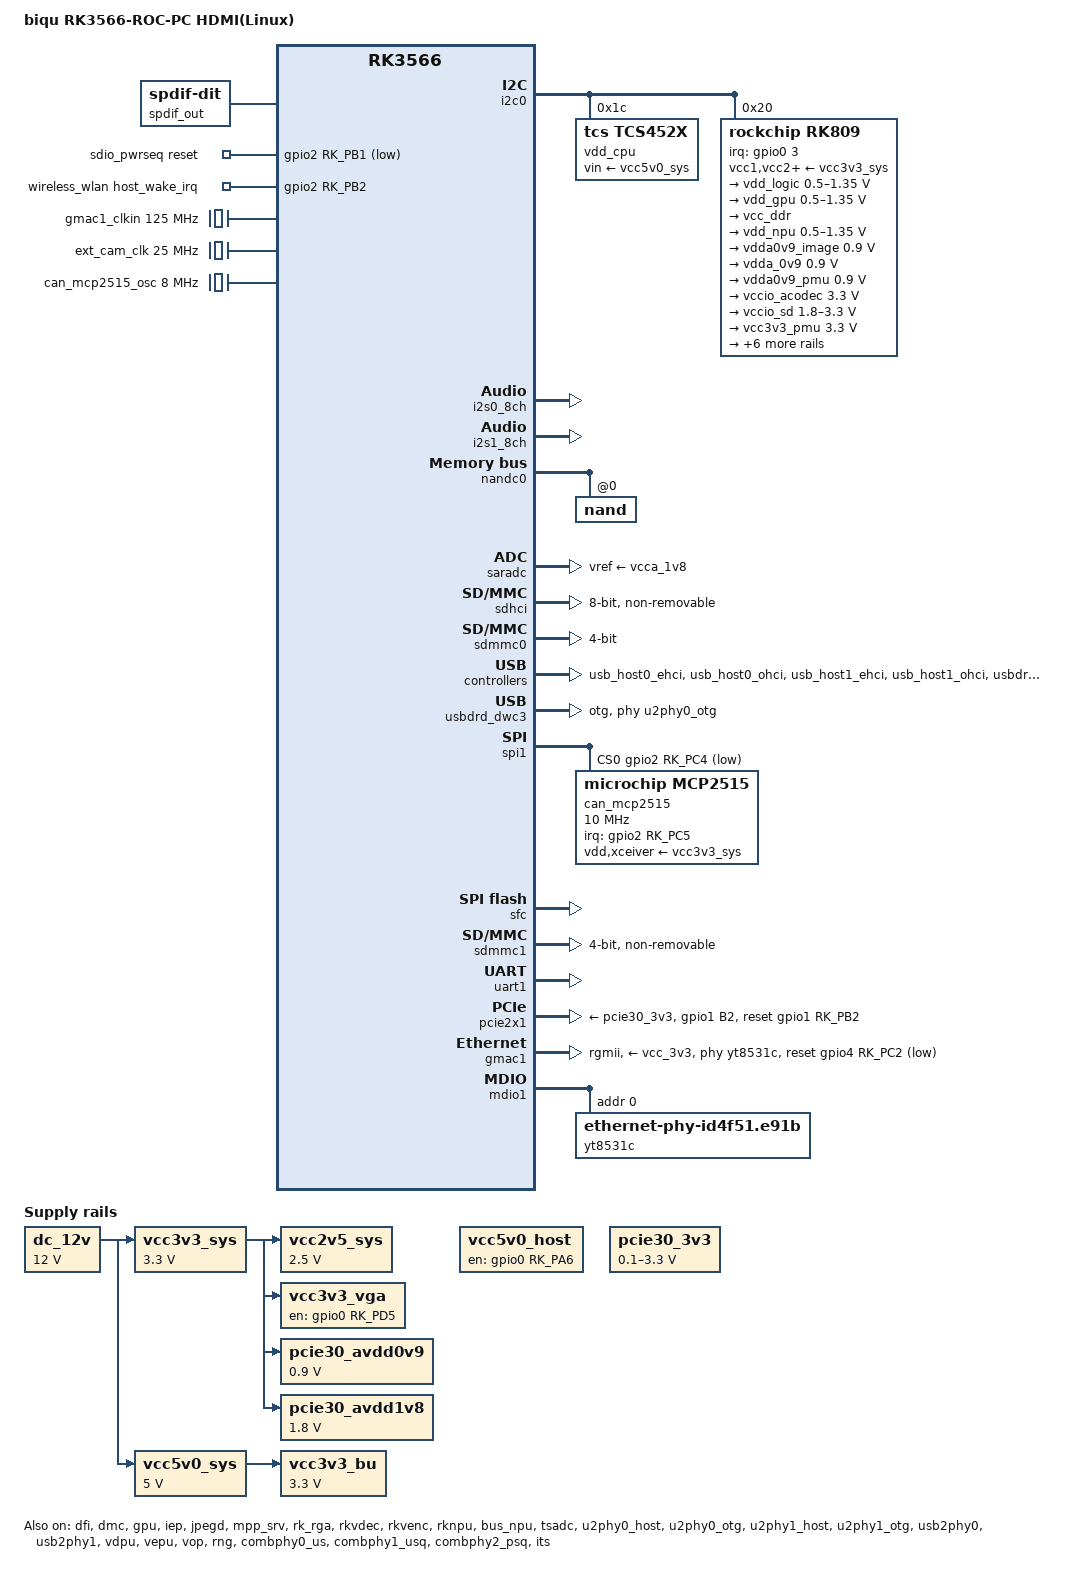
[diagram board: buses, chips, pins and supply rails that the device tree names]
// SPDX-License-Identifier: (GPL-2.0+ OR MIT)
/*
 * Copyright (c) 2021 Rockchip Electronics Co., Ltd.
 *
 */
// SPDX-License-Identifier: (GPL-2.0+ OR MIT)
/*
 * Copyright (c) 2020 Rockchip Electronics Co., Ltd.
 *
 */
 /dts-v1/;

#include <dt-bindings/gpio/gpio.h>
#include <dt-bindings/pwm/pwm.h>
#include <dt-bindings/pinctrl/rockchip.h>
#include <dt-bindings/input/rk-input.h>
#include <dt-bindings/display/drm_mipi_dsi.h>
#include <dt-bindings/sensor-dev.h>
#include "rk3568.dtsi"
#include "bq-cb2-display.dtsi"
#include "bq-cb2-camera.dtsi"

/ {

	model = "biqu RK3566-ROC-PC HDMI(Linux)";//(8)
	compatible = "rockchip,rk3566-biqu-cb2-pc", "rockchip,rk3566";//(8)

	aliases {
		ethernet0 = &gmac1;
		mmc0 = &sdmmc0;
		mmc1 = &sdhci;
		mmc2 = &sdmmc1;
	};

	dc_12v: dc-12v {
		compatible = "regulator-fixed";
		regulator-name = "dc_12v";
		regulator-always-on;
		regulator-boot-on;
		regulator-min-microvolt = <12000000>;
		regulator-max-microvolt = <12000000>;
	};

	rk809_sound: rk809-sound {
		status = "okay";
		compatible = "simple-audio-card";
		simple-audio-card,format = "i2s";
		simple-audio-card,name = "rockchip,rk809-codec";
		simple-audio-card,mclk-fs = <256>;
		simple-audio-card,widgets =
                        "Microphone", "Mic Jack",
                        "Headphone", "Headphone Jack";
        simple-audio-card,routing =
                        "Mic Jack", "MICBIAS1",
                        "IN1P", "Mic Jack",
                        "Headphone Jack", "HPOL",
                        "Headphone Jack", "HPOR";
		simple-audio-card,cpu {
			sound-dai = <&i2s1_8ch>;
		};
		simple-audio-card,codec {
			sound-dai = <&rk809_codec>;
		};
	};

	spdif-sound {
		status = "okay";
		compatible = "simple-audio-card";
		simple-audio-card,name = "ROCKCHIP,SPDIF";
		simple-audio-card,cpu {
				sound-dai = <&spdif_8ch>;
		};
		simple-audio-card,codec {
				sound-dai = <&spdif_out>;
		};
	};

	spdif_out: spdif-out {
			status = "okay";
			compatible = "linux,spdif-dit";
			#sound-dai-cells = <0>;
	};

	vad_sound: vad-sound {
		status = "disabled";
		compatible = "rockchip,multicodecs-card";
		rockchip,card-name = "rockchip,rk3568-vad";
		rockchip,cpu = <&i2s1_8ch>;
		rockchip,codec = <&rk809_codec>, <&vad>;
	};

	vcc3v3_sys: vcc3v3-sys {
		compatible = "regulator-fixed";
		regulator-name = "vcc3v3_sys";
		regulator-always-on;
		regulator-boot-on;
		regulator-min-microvolt = <3300000>;
		regulator-max-microvolt = <3300000>;
		vin-supply = <&dc_12v>;
	};

	vcc5v0_sys: vcc5v0-sys {
		compatible = "regulator-fixed";
		regulator-name = "vcc5v0_sys";
		regulator-always-on;
		regulator-boot-on;
		regulator-min-microvolt = <5000000>;
		regulator-max-microvolt = <5000000>;
		vin-supply = <&dc_12v>;
	};

	vcc5v0_host: vcc5v0-host-regulator {
		compatible = "regulator-fixed";
		enable-active-high;
		gpio = <&gpio0 RK_PD6 GPIO_ACTIVE_HIGH>;
		pinctrl-names = "default";
		pinctrl-0 = <&vcc5v0_host_en>;
		regulator-name = "vcc5v0_host";
		regulator-always-on;
	};

	vcc5v0_otg: vcc5v0-otg-regulator {
		compatible = "regulator-fixed";
		enable-active-high;
		gpio = <&gpio0 RK_PA5 GPIO_ACTIVE_HIGH>;
		pinctrl-names = "default";
		pinctrl-0 = <&vcc5v0_otg_en>;
		regulator-name = "vcc5v0_otg";
	};

    gpio_demo: gpio_demo {
        status = "disabled";
        compatible = "biqu,rk356x-gpio";
        biqu-gpio = <&gpio0 12 GPIO_ACTIVE_HIGH>;          /* GPIO0_B4 */
        biqu-irq-gpio = <&gpio4 29 IRQ_TYPE_EDGE_RISING>;  /* GPIO4_D5 */
    };

	fiq-debugger {
		compatible = "rockchip,fiq-debugger";
		rockchip,serial-id = <2>;
		rockchip,wake-irq = <0>;
		/* If enable uart uses irq instead of fiq */
		rockchip,irq-mode-enable = <1>;
		rockchip,baudrate = <1500000>;  /* Only 115200 and 1500000 */
		interrupts = <GIC_SPI 252 IRQ_TYPE_LEVEL_LOW>;
		pinctrl-names = "default";
		pinctrl-0 = <&uart2m0_xfer>;
		status = "okay";
	};

	debug: debug@fd904000 {
		compatible = "rockchip,debug";
		reg = <0x0 0xfd904000 0x0 0x1000>,
			<0x0 0xfd905000 0x0 0x1000>,
			<0x0 0xfd906000 0x0 0x1000>,
			<0x0 0xfd907000 0x0 0x1000>;
	};

	cspmu: cspmu@fd90c000 {
		compatible = "rockchip,cspmu";
		reg = <0x0 0xfd90c000 0x0 0x1000>,
			<0x0 0xfd90d000 0x0 0x1000>,
			<0x0 0xfd90e000 0x0 0x1000>,
			<0x0 0xfd90f000 0x0 0x1000>;
	};

	rk809_sound: rk809-sound {
		status = "okay";
		compatible = "simple-audio-card";
		simple-audio-card,format = "i2s";
		simple-audio-card,hp-det-gpio = <&gpio3 RK_PC2 GPIO_ACTIVE_HIGH>;
		simple-audio-card,name = "rockchip,rk809-codec";
		simple-audio-card,widgets = "Headphones", "Headphones Jack";
		simple-audio-card,mclk-fs = <256>;
		simple-audio-card,cpu {
			sound-dai = <&i2s1_8ch>;
		};
		simple-audio-card,codec {
			sound-dai = <&rk809_codec>;
		};
	};

	vcc2v5_sys: vcc2v5-ddr {
		compatible = "regulator-fixed";
		regulator-name = "vcc2v5-sys";
		regulator-always-on;
		regulator-boot-on;
		regulator-min-microvolt = <2500000>;
		regulator-max-microvolt = <2500000>;
		vin-supply = <&vcc3v3_sys>;
	};

	vcc3v3_vga: vcc3v3-vga {
		compatible = "regulator-fixed";
		regulator-name = "vcc3v3_vga";
		regulator-always-on;
		regulator-boot-on;
		gpio = <&gpio0 RK_PD5 GPIO_ACTIVE_HIGH>;
		enable-active-high;
		vin-supply = <&vcc3v3_sys>;
	};

	pcie30_avdd0v9: pcie30-avdd0v9 {
		compatible = "regulator-fixed";
		regulator-name = "pcie30_avdd0v9";
		regulator-always-on;
		regulator-boot-on;
		regulator-min-microvolt = <900000>;
		regulator-max-microvolt = <900000>;
		vin-supply = <&vcc3v3_sys>;
	};

	pcie30_avdd1v8: pcie30-avdd1v8 {
		compatible = "regulator-fixed";
		regulator-name = "pcie30_avdd1v8";
		regulator-always-on;
		regulator-boot-on;
		regulator-min-microvolt = <1800000>;
		regulator-max-microvolt = <1800000>;
		vin-supply = <&vcc3v3_sys>;
	};

	pcie30_3v3: gpio-regulator {
		compatible = "regulator-gpio";
		regulator-name = "pcie30_3v3";
		regulator-min-microvolt = <100000>;
		regulator-max-microvolt = <3300000>;
		gpios = <&gpio0 RK_PD4 GPIO_ACTIVE_HIGH>;
		gpios-states = <0x1>;
		states = <100000 0x0
			  3300000 0x1>;
	};

	vcc3v3_bu: vcc3v3-bu {
		compatible = "regulator-fixed";
		regulator-name = "vcc3v3_bu";
		regulator-always-on;
		regulator-boot-on;
		regulator-min-microvolt = <3300000>;
		regulator-max-microvolt = <3300000>;
		vin-supply = <&vcc5v0_sys>;
	};

	sdio_pwrseq: sdio-pwrseq {
		compatible = "mmc-pwrseq-simple";
		clocks = <&rk809 1>;
		clock-names = "ext_clock";
		pinctrl-names = "default";
		pinctrl-0 = <&wifi_enable_h>;
		/*
			* On the module itself this is one of these (depending
			* on the actual card populated):
			* - SDIO_RESET_L_WL_REG_ON
			* - PDN (power down when low)
		*/
		reset-gpios = <&gpio3 RK_PD5 GPIO_ACTIVE_LOW>;
	};

	wireless_wlan: wireless-wlan {
		compatible = "wlan-platdata";
		rockchip,grf = <&grf>;
		wifi_chip_type = "ap6398s";
		pinctrl-names = "default";
		pinctrl-0 = <&wifi_host_wake_irq>;
		WIFI,host_wake_irq = <&gpio3 RK_PD4 GPIO_ACTIVE_HIGH>;
		status = "disabled";
	};

	// wireless_bluetooth: wireless-bluetooth {
	// 	compatible = "bluetooth-platdata";
	// 	clocks = <&rk809 1>;
	// 	clock-names = "ext_clock";
	// 	//wifi-bt-power-toggle;
	// 	uart_rts_gpios = <&gpio2 RK_PB1 GPIO_ACTIVE_LOW>;
	// 	pinctrl-names = "default", "rts_gpio";
	// 	pinctrl-0 = <&uart8m0_rtsn>;
	// 	pinctrl-1 = <&uart8_gpios>;
	// 	BT,reset_gpio    = <&gpio3 RK_PA0 GPIO_ACTIVE_HIGH>;
	// 	BT,wake_gpio     = <&gpio3 RK_PA1 GPIO_ACTIVE_HIGH>;
	// 	BT,wake_host_irq = <&gpio3 RK_PA2 GPIO_ACTIVE_HIGH>;
	// 	status = "disabled";
	// };

	aliases {
		/delete-property/ ethernet0;
	};

sd_vcc3v3_power: sd-vcc3v3-power {
		status = "disabled";
        compatible = "regulator-fixed";
        enable-active-high;
        gpio = <&gpio0 RK_PA5 GPIO_ACTIVE_HIGH>;
        pinctrl-names = "default";
        pinctrl-0 = <&sd_vcc3v3_power_en>;
        regulator-name = "sd_vcc3v3_power_en";
        regulator-min-microvolt = <3300000>;
        regulator-max-microvolt = <3300000>;
        regulator-always-on;
        regulator-boot-on;
        regulator-state-mem {
            regulator-off-in-suspend;
        };
   };

   	gmac1_clkin: external-gmac1-clock {
		compatible = "fixed-clock";
		clock-frequency = <125000000>;
		clock-output-names = "gmac1_clkin";
		#clock-cells = <0>;
	};

	ext_cam_clk: ext-cam-clk {
		status = "okay";
		compatible = "fixed-clock";
		clock-frequency = <25000000>;
		clock-output-names = "ext_cam_clk";
		#clock-cells = <0>;
	};
	can_mcp2515_osc: can-mcp2515-osc {
		compatible = "fixed-clock";
		clock-frequency = <8000000>;
		#clock-cells = <0>;
	};

};

&cpu0 {
	cpu-supply = <&vdd_cpu>;
};

&dfi {
	status = "okay";
};

&dmc {
	center-supply = <&vdd_logic>;
	status = "okay";
};

&gpu {
	mali-supply = <&vdd_gpu>;
	status = "okay";
};

&i2c0 {
	status = "okay";

	vdd_cpu: tcs4525@1c {
		compatible = "tcs,tcs452x";
		reg = <0x1c>;
		vin-supply = <&vcc5v0_sys>;
		regulator-compatible = "fan53555-reg";
		regulator-name = "vdd_cpu";
		regulator-min-microvolt = <712500>;
		regulator-max-microvolt = <1390000>;
		regulator-ramp-delay = <2300>;
		fcs,suspend-voltage-selector = <1>;
		regulator-boot-on;
		regulator-always-on;
		regulator-state-mem {
			regulator-off-in-suspend;
		};
	};

	rk809: pmic@20 {
		compatible = "rockchip,rk809";
		reg = <0x20>;
		interrupt-parent = <&gpio0>;
		interrupts = <3 IRQ_TYPE_LEVEL_LOW>;

		pinctrl-names = "default", "pmic-sleep",
				"pmic-power-off", "pmic-reset";
		pinctrl-0 = <&pmic_int>;
		pinctrl-1 = <&soc_slppin_slp>, <&rk817_slppin_slp>;
		pinctrl-2 = <&soc_slppin_gpio>, <&rk817_slppin_pwrdn>;
		pinctrl-3 = <&soc_slppin_gpio>, <&rk817_slppin_rst>;

		rockchip,system-power-controller;
		wakeup-source;
		#clock-cells = <1>;
		clock-output-names = "rk808-clkout1", "rk808-clkout2";
		//fb-inner-reg-idxs = <2>;
		/* 1: rst regs (default in codes), 0: rst the pmic */
		pmic-reset-func = <0>;
		/* not save the PMIC_POWER_EN register in uboot */
		not-save-power-en = <1>;

		vcc1-supply = <&vcc3v3_sys>;
		vcc2-supply = <&vcc3v3_sys>;
		vcc3-supply = <&vcc3v3_sys>;
		vcc4-supply = <&vcc3v3_sys>;
		vcc5-supply = <&vcc3v3_sys>;
		vcc6-supply = <&vcc3v3_sys>;
		vcc7-supply = <&vcc3v3_sys>;
		vcc8-supply = <&vcc3v3_sys>;
		vcc9-supply = <&vcc3v3_sys>;

		pwrkey {
			status = "okay";
		};

		pinctrl_rk8xx: pinctrl_rk8xx {
			gpio-controller;
			#gpio-cells = <2>;

			rk817_slppin_null: rk817_slppin_null {
				pins = "gpio_slp";
				function = "pin_fun0";
			};

			rk817_slppin_slp: rk817_slppin_slp {
				pins = "gpio_slp";
				function = "pin_fun1";
			};

			rk817_slppin_pwrdn: rk817_slppin_pwrdn {
				pins = "gpio_slp";
				function = "pin_fun2";
			};

			rk817_slppin_rst: rk817_slppin_rst {
				pins = "gpio_slp";
				function = "pin_fun3";
			};
		};

		regulators {
			vdd_logic: DCDC_REG1 {
				regulator-always-on;
				regulator-boot-on;
				regulator-min-microvolt = <500000>;
				regulator-max-microvolt = <1350000>;
				regulator-init-microvolt = <900000>;
				regulator-ramp-delay = <6001>;
				regulator-initial-mode = <0x2>;
				regulator-name = "vdd_logic";
				regulator-state-mem {
					regulator-off-in-suspend;
				};
			};

			vdd_gpu: DCDC_REG2 {
				regulator-always-on;
				regulator-boot-on;
				regulator-min-microvolt = <500000>;
				regulator-max-microvolt = <1350000>;
				regulator-init-microvolt = <900000>;
				regulator-ramp-delay = <6001>;
				regulator-initial-mode = <0x2>;
				regulator-name = "vdd_gpu";
				regulator-state-mem {
					regulator-off-in-suspend;
				};
			};

			vcc_ddr: DCDC_REG3 {
				regulator-always-on;
				regulator-boot-on;
				regulator-initial-mode = <0x2>;
				regulator-name = "vcc_ddr";
				regulator-state-mem {
					regulator-on-in-suspend;
				};
			};

			vdd_npu: DCDC_REG4 {
				regulator-always-on;
				regulator-boot-on;
				regulator-min-microvolt = <500000>;
				regulator-max-microvolt = <1350000>;
				regulator-init-microvolt = <900000>;
				regulator-ramp-delay = <6001>;
				regulator-initial-mode = <0x2>;
				regulator-name = "vdd_npu";
				regulator-state-mem {
					regulator-off-in-suspend;
				};
			};

			vdda0v9_image: LDO_REG1 {
				regulator-boot-on;
				regulator-always-on;
				regulator-min-microvolt = <900000>;
				regulator-max-microvolt = <900000>;
				regulator-name = "vdda0v9_image";
				regulator-state-mem {
					regulator-off-in-suspend;
				};
			};

			vdda_0v9: LDO_REG2 {
				regulator-always-on;
				regulator-boot-on;
				regulator-min-microvolt = <900000>;
				regulator-max-microvolt = <900000>;
				regulator-name = "vdda_0v9";
				regulator-state-mem {
					regulator-off-in-suspend;
				};
			};

			vdda0v9_pmu: LDO_REG3 {
				regulator-always-on;
				regulator-boot-on;
				regulator-min-microvolt = <900000>;
				regulator-max-microvolt = <900000>;
				regulator-name = "vdda0v9_pmu";
				regulator-state-mem {
					regulator-on-in-suspend;
					regulator-suspend-microvolt = <900000>;
				};
			};

			vccio_acodec: LDO_REG4 {
				regulator-always-on;
				regulator-boot-on;
				regulator-min-microvolt = <3300000>;
				regulator-max-microvolt = <3300000>;
				regulator-name = "vccio_acodec";
				regulator-state-mem {
					regulator-off-in-suspend;
				};
			};

			vccio_sd: LDO_REG5 {
				regulator-always-on;
				regulator-boot-on;
				regulator-min-microvolt = <1800000>;
				regulator-max-microvolt = <3300000>;
				regulator-name = "vccio_sd";
				regulator-state-mem {
					regulator-off-in-suspend;
				};
			};

			vcc3v3_pmu: LDO_REG6 {
				regulator-always-on;
				regulator-boot-on;
				regulator-min-microvolt = <3300000>;
				regulator-max-microvolt = <3300000>;
				regulator-name = "vcc3v3_pmu";
				regulator-state-mem {
					regulator-on-in-suspend;
					regulator-suspend-microvolt = <3300000>;
				};
			};

			vcca_1v8: LDO_REG7 {
				regulator-always-on;
				regulator-boot-on;
				regulator-min-microvolt = <1800000>;
				regulator-max-microvolt = <1800000>;
				regulator-name = "vcca_1v8";
				regulator-state-mem {
					regulator-off-in-suspend;
				};
			};

			vcca1v8_pmu: LDO_REG8 {
				regulator-always-on;
				regulator-boot-on;
				regulator-min-microvolt = <1800000>;
				regulator-max-microvolt = <1800000>;
				regulator-name = "vcca1v8_pmu";
				regulator-state-mem {
					regulator-on-in-suspend;
					regulator-suspend-microvolt = <1800000>;
				};
			};

			vcca1v8_image: LDO_REG9 {
				regulator-always-on;
				regulator-boot-on;
				regulator-min-microvolt = <1800000>;
				regulator-max-microvolt = <1800000>;
				regulator-name = "vcca1v8_image";
				regulator-state-mem {
					regulator-off-in-suspend;
				};
			};

			vcc_1v8: DCDC_REG5 {
				regulator-always-on;
				regulator-boot-on;
				regulator-min-microvolt = <1800000>;
				regulator-max-microvolt = <1800000>;
				regulator-name = "vcc_1v8";
				regulator-state-mem {
					regulator-off-in-suspend;
				};
			};

			vcc_3v3: SWITCH_REG1 {
				regulator-always-on;
				regulator-boot-on;
				regulator-name = "vcc_3v3";
				regulator-state-mem {
					regulator-off-in-suspend;
				};
			};

			vcc3v3_sd: SWITCH_REG2 {
				regulator-always-on;
				regulator-boot-on;
				regulator-name = "vcc3v3_sd";
				regulator-state-mem {
					regulator-off-in-suspend;
				};
			};
		};

		rk809_codec: codec {
			#sound-dai-cells = <0>;
			compatible = "rockchip,rk809-codec", "rockchip,rk817-codec";
			clocks = <&cru I2S1_MCLKOUT>;
			clock-names = "mclk";
			assigned-clocks = <&cru I2S1_MCLKOUT>, <&cru I2S1_MCLK_TX_IOE>;
			assigned-clock-rates = <12288000>;
			assigned-clock-parents = <&cru I2S1_MCLKOUT_TX>, <&cru I2S1_MCLKOUT_TX>;
			pinctrl-names = "default","spk_gpio";
			pinctrl-0 = <&i2s1m0_mclk>;
			pinctrl-1 = <&spk_ctl_gpio>;
			hp-volume = <20>;
			spk-volume = <3>;
			//mic-in-differential;

			capture-volume = <0>;
			io-channels = <&saradc 4>;
			hp-det-adc-value = <1000>;
			spk-ctl-gpios = <&gpio3 RK_PC5 GPIO_ACTIVE_HIGH>;
			status = "okay";
		};
	};
};

&i2s0_8ch {
	status = "okay";
};

&i2s1_8ch {
	status = "okay";
	rockchip,clk-trcm = <1>;
	pinctrl-names = "default";
	pinctrl-0 = <&i2s1m0_sclktx
		     &i2s1m0_lrcktx
		     &i2s1m0_sdi0
		     &i2s1m0_sdo0>;
};

&iep {
	status = "okay";
};

&iep_mmu {
	status = "okay";
};

&jpegd {
	status = "okay";
};

&jpegd_mmu {
	status = "okay";
};

&mpp_srv {
	status = "okay";
};

&nandc0 {
	#address-cells = <1>;
	#size-cells = <0>;
	status = "okay";

	nand@0 {
		reg = <0>;
		nand-bus-width = <8>;
		nand-ecc-mode = "hw";
		nand-ecc-strength = <16>;
		nand-ecc-step-size = <1024>;
	};
};

&pmu_io_domains {
	status = "okay";
	pmuio1-supply = <&vcc3v3_pmu>;
	pmuio2-supply = <&vcc3v3_pmu>;
	vccio1-supply = <&vccio_acodec>;
	vccio3-supply = <&vccio_sd>;
	vccio4-supply = <&vcc_1v8>;
	vccio5-supply = <&vcc_3v3>;
	vccio6-supply = <&vcc_1v8>;
	vccio7-supply = <&vcc_3v3>;
};

&rk_rga {
	status = "okay";
};

&rkvdec {
	status = "okay";
};

&rkvdec_mmu {
	status = "okay";
};

&rkvenc {
	venc-supply = <&vdd_logic>;
	status = "okay";
};

&rkvenc_mmu {
	status = "okay";
};

&rknpu {
	rknpu-supply = <&vdd_npu>;
	status = "okay";
};

&rknpu_mmu {
	status = "disabled";
};

&bus_npu {
	bus-supply = <&vdd_logic>;
	pvtm-supply = <&vdd_cpu>;
	status = "okay";
};

&saradc {
	status = "okay";
	vref-supply = <&vcca_1v8>;
};

&sdhci {
	bus-width = <8>;
	supports-emmc;
	non-removable;
	max-frequency = <200000000>;
	status = "okay";
};

&sdmmc0 {
	max-frequency = <150000000>;
	supports-sd;
	bus-width = <4>;
	cap-mmc-highspeed;
	cap-sd-highspeed;
	disable-wp;
	sd-uhs-sdr104;
	vmmc-supply = <&vcc3v3_sd>;
	vqmmc-supply = <&vccio_sd>;
	pinctrl-names = "default";
	pinctrl-0 = <&sdmmc0_bus4 &sdmmc0_clk &sdmmc0_cmd &sdmmc0_det>;
	status = "okay";
};

&spdif_8ch {
	status = "okay";
};

&tsadc {
	status = "okay";
};

&u2phy0_host {
	phy-supply = <&vcc5v0_host>;
	status = "okay";
};

&u2phy0_otg {
	vbus-supply = <&vcc5v0_otg>;
	status = "okay";
};

&u2phy1_host {
	phy-supply = <&vcc5v0_host>;
	status = "okay";
};

&u2phy1_otg {
	phy-supply = <&vcc5v0_host>;
	status = "okay";
};

&usb2phy0 {
	status = "okay";
};

&usb2phy1 {
	status = "okay";
};

&usb_host0_ehci {
	status = "okay";
};

&usb_host0_ohci {
	status = "okay";
};

&usb_host1_ehci {
	status = "okay";
};

&usb_host1_ohci {
	status = "okay";
};

&usbdrd_dwc3 {
	dr_mode = "otg";
	extcon = <&usb2phy0>;
	status = "okay";
};

&usbdrd30 {
	status = "okay";
};

&usbhost_dwc3 {
	status = "okay";
};

&usbhost30 {
	status = "okay";
};

&vad {
	rockchip,audio-src = <&i2s1_8ch>;
	rockchip,buffer-time-ms = <128>;
	rockchip,det-channel = <0>;
	rockchip,mode = <0>;
};

&vdpu {
	status = "okay";
};

&vdpu_mmu {
	status = "okay";
};

&vepu {
	status = "okay";
};

&vepu_mmu {
	status = "okay";
};

&vop {
	status = "okay";
	assigned-clocks = <&cru DCLK_VOP0>, <&cru DCLK_VOP1>;
	assigned-clock-parents = <&pmucru PLL_HPLL>, <&cru PLL_VPLL>;
	disable-win-move;

};

&vop_mmu {
	status = "okay";
};

&pinctrl {

	pmic {
		pmic_int: pmic_int {
			rockchip,pins =
				<0 RK_PA3 RK_FUNC_GPIO &pcfg_pull_up>;
		};

		soc_slppin_gpio: soc_slppin_gpio {
			rockchip,pins =
				<0 RK_PA2 RK_FUNC_GPIO &pcfg_output_low_pull_down>;
		};

		soc_slppin_slp: soc_slppin_slp {
			rockchip,pins =
				<0 RK_PA2 RK_FUNC_1 &pcfg_pull_up>;
		};

		soc_slppin_rst: soc_slppin_rst {
			rockchip,pins =
				<0 RK_PA2 RK_FUNC_2 &pcfg_pull_none>;
		};

		spk_ctl_gpio: spk_ctl_gpio {
			rockchip,pins = <3 RK_PC5 RK_FUNC_GPIO &pcfg_pull_up>;
		};
	};

	usb {

		vcc5v0_otg_en: vcc5v0-otg-en {
			rockchip,pins = <0 RK_PA5 RK_FUNC_GPIO &pcfg_pull_none>;
		};

		vcc5v0_host_vbus_en: vcc5v0-host-en {
			rockchip,pins = <0 RK_PA6 RK_FUNC_GPIO &pcfg_pull_none>;
		};
	};

	headphone {
		hp_det: hp-det {
			rockchip,pins = <3 RK_PC2 RK_FUNC_GPIO &pcfg_pull_down>;
		};
	};

	sdio-pwrseq {
		wifi_enable_h: wifi-enable-h {
			rockchip,pins = <3 RK_PD5 RK_FUNC_GPIO &pcfg_pull_none>;
		};
	};

	wireless-wlan {
		wifi_host_wake_irq: wifi-host-wake-irq {
			rockchip,pins = <3 RK_PD4 RK_FUNC_GPIO &pcfg_pull_down>;
		};
	};

	wireless-bluetooth {
		uart8_gpios: uart8-gpios {
			rockchip,pins = <2 RK_PB1 RK_FUNC_GPIO &pcfg_pull_none>;
		};
	};

	touch {
		touch_gpio: touch-gpio {
			rockchip,pins =
				<0 RK_PB5 RK_FUNC_GPIO &pcfg_pull_up>,
				<0 RK_PB6 RK_FUNC_GPIO &pcfg_pull_none>;
		};
	};

	mxc6655xa {
		mxc6655xa_irq_gpio: mxc6655xa_irq_gpio {
			rockchip,pins = <RK_GPIO3 RK_PC1 RK_FUNC_GPIO &pcfg_pull_none>;
		};
	};

	sd {
		sd_vcc3v3_power_en: sd-vcc3v3-power-en {
			rockchip,pins = <0 RK_PA5 RK_FUNC_GPIO &pcfg_pull_none>;
		};
	};

	wireless-wlan {
		wifi_host_wake_irq: wifi-host-wake-irq {
			rockchip,pins = <2 RK_PB2 RK_FUNC_GPIO &pcfg_pull_down>;
		};
	};

    	// wireless-bluetooth {
	// 	uart1_rts_gpio: uart1-rts-gpio {
	// 		rockchip,pins = <2  RK_PB5 RK_FUNC_GPIO &pcfg_pull_none>;
	// 	};

	// 	bt_host_wake_irq: bt-host-wake-irq {
	// 		rockchip,pins = <2 RK_PC1 RK_FUNC_GPIO &pcfg_pull_down>;
	// 	};
	// 	bt_host_wake_gpio: bt-host-wake-gpio {
	// 		rockchip,pins = <2 RK_PC0 RK_FUNC_GPIO &pcfg_pull_down>;
	// 	};
	// 	bt_poweren: bt-poweren {
	// 		rockchip,pins = <2 RK_PB7 RK_FUNC_GPIO &pcfg_pull_down>;
	// 	};
    	// };

	pcie {
		pcie_reset_gpio: pcie-reset-gpio {
				rockchip,pins = <1 RK_PB2 RK_FUNC_GPIO &pcfg_pull_none>;
			};
	};

	mcp2515_int_pin {
		mcp2515_int_pin: mcp2515_int_pin {
			rockchip,pins = <2 RK_PC5 RK_FUNC_GPIO &pcfg_pull_up>;
		};
	};

};

&reserved_memory {
	ramoops: ramoops@110000 {
		compatible = "ramoops";
		reg = <0x0 0x110000 0x0 0xf0000>;
		record-size = <0x20000>;
		console-size = <0x80000>;
		ftrace-size = <0x00000>;
		pmsg-size = <0x50000>;
	};
};

&rk809_codec {
	#sound-dai-cells = <0>;
	compatible = "rockchip,rk809-codec", "rockchip,rk817-codec";
	clocks = <&cru I2S1_MCLKOUT>;
	clock-names = "mclk";
	assigned-clocks = <&cru I2S1_MCLKOUT>, <&cru I2S1_MCLK_TX_IOE>;
	assigned-clock-rates = <12288000>;
	assigned-clock-parents = <&cru I2S1_MCLKOUT_TX>, <&cru I2S1_MCLKOUT_TX>;
	pinctrl-names = "default";
	pinctrl-0 = <&i2s1m0_mclk>;
    io-channels = <&saradc 3>;
    hp-det-adc-value = <941>;
    hp_adc_drift_scope = <20>;
    board-spk-from-hp;
	hp-volume = <20>;
	spk-volume = <3>;
	status = "okay";
};

&rng {
	status = "okay";
};

&rockchip_suspend {
	status = "okay";
};

&combphy0_us {
	status = "okay";
};

&combphy1_usq {
	status = "okay";
};

&combphy2_psq {
	status = "okay";
};

&pcie30phy {
	status = "disabled";
};

&pcie3x2 {
	reset-gpios = <&gpio2 RK_PD6 GPIO_ACTIVE_HIGH>;
	vpcie3v3-supply = <&pcie30_3v3>;
	status = "disabled";
};

&rk809_sound {
	/delete-property/ simple-audio-card,hp-det-gpio;
};

&sata2 {
	status = "disabled";
};

&sdmmc2 {
	max-frequency = <150000000>;
	supports-sdio;
	bus-width = <4>;
	disable-wp;
	cap-sd-highspeed;
	cap-sdio-irq;
	keep-power-in-suspend;
	pinctrl-names = "default";
	pinctrl-0 = <&sdmmc2m0_bus4 &sdmmc2m0_cmd &sdmmc2m0_clk>;
	sd-uhs-sdr104;
	mmc-pwrseq = <&sdio_pwrseq>;
	non-removable;
	status = "disabled";
};

&spdif_8ch {
	status = "disabled";
	pinctrl-names = "default";
	pinctrl-0 = <&spdifm1_tx>;
};

&spi1 {
	status = "okay";
	max-freq = <10000000>;
	#address-cells = <1>;
	#size-cells = <0>;
	cs-gpios = <&gpio2 RK_PC4 GPIO_ACTIVE_LOW>,
			<&gpio2 RK_PC0 GPIO_ACTIVE_LOW>,
			<&gpio2 RK_PC6 GPIO_ACTIVE_LOW>;
	can_mcp2515: can-mcp2515@0 {
		status = "okay";
		compatible = "microchip,mcp2515";
		reg = <0>;
		interrupt-parent = <&gpio2>;
		interrupts = <RK_PC5 IRQ_TYPE_LEVEL_LOW>;
		spi-max-frequency = <10000000>;
		clocks = <&can_mcp2515_osc>;
		vdd-supply = <&vcc3v3_sys>;
		xceiver-supply = <&vcc3v3_sys>;
		pinctrl-names = "default";
		pinctrl-0 = <&mcp2515_int_pin>;
	};
};

&sfc{
    pinctrl-names = "default";
    pinctrl-0 = <&fspi_pins>;
    assigned-clock-rates = <50000000>;
    status = "okay";
};


&cpu0_opp_table {
	/delete-node/ opp-1992000000;
};

&dmc {
	system-status-freq = <
		/*system status         freq(KHz)*/
		SYS_STATUS_NORMAL       780000
		SYS_STATUS_REBOOT       1056000
		SYS_STATUS_SUSPEND      324000
		SYS_STATUS_VIDEO_1080P  528000
		SYS_STATUS_BOOST        1056000
		SYS_STATUS_ISP          1056000
		SYS_STATUS_PERFORMANCE  1056000
	>;
};

&dmc_opp_table {
	opp-1056000000 {
		opp-hz = /bits/ 64 <1056000000>;
		opp-microvolt = <900000>;
		opp-microvolt-L0 = <900000>;
		opp-microvolt-L1 = <850000>;
	};
	/delete-node/ opp-1560000000;
};

&power {
	pd_pipe@RK3568_PD_PIPE {
		reg = <RK3568_PD_PIPE>;
		clocks = <&cru PCLK_PIPE>;
		pm_qos = <&qos_pcie2x1>,
			 <&qos_sata0>,
			 <&qos_sata1>,
			 <&qos_usb3_0>,
			 <&qos_usb3_1>;
	};
};

&rkisp {
	rockchip,iq-feature = /bits/ 64 <0x3FBF7FE67FF>;
};

&usbdrd_dwc3 {
	phys = <&u2phy0_otg>;
	phy-names = "usb2-phy";
	extcon = <&usb2phy0>;
	maximum-speed = "high-speed";
	snps,dis_u2_susphy_quirk;
};

/delete-node/ &gmac0_clkin;
/delete-node/ &gmac0_xpcsclk;
/delete-node/ &gmac0;
/delete-node/ &pcie30_phy_grf;
/delete-node/ &pcie30phy;
/delete-node/ &pcie3x1;
/delete-node/ &pcie3x2;
/delete-node/ &qos_pcie3x1;
/delete-node/ &qos_pcie3x2;
/delete-node/ &qos_sata2;
/delete-node/ &sata2;
&vcc5v0_host {
    gpio = <&gpio0 RK_PA6 GPIO_ACTIVE_HIGH>;
    pinctrl-names = "default";
    pinctrl-0 = <&vcc5v0_host_vbus_en>;
};

&vcc5v0_otg {
	status = "disabled";
};

&u2phy0_otg {
	/delete-property/ vbus-supply;
};

/* sdcard config */
&sdmmc0 {
    /delete-property/ vmmc-supply;
};

/* WiFi config */
&sdmmc1 {
    max-frequency = <150000000>;
    supports-sdio;
    bus-width = <4>;
    disable-wp;
    cap-sd-highspeed;
    cap-sdio-irq;
    keep-power-in-suspend;
    mmc-pwrseq = <&sdio_pwrseq>;
    non-removable;
    pinctrl-names = "default";
    pinctrl-0 = <&sdmmc1_bus4 &sdmmc1_cmd &sdmmc1_clk>;
    sd-uhs-sdr104;
    rockchip,default-sample-phase = <90>;
    status = "okay";
};

&sdio_pwrseq {
    reset-gpios = <&gpio2 RK_PB1 GPIO_ACTIVE_LOW>;
    status = "okay";
};

&wifi_enable_h {
    rockchip,pins = <2 RK_PB1 RK_FUNC_GPIO &pcfg_pull_none>;
};

// iomux with GPIO2_B2(WIFI,host_wake_irq)
&uart8 {
    status = "disabled";
};

&wireless_wlan {
    wifi_chip_type = "ap6356s";
    pinctrl-names = "default";
    pinctrl-0 = <&wifi_host_wake_irq>;
    //WIFI,poweren_gpio = <&gpio3 29 0>;
    WIFI,host_wake_irq = <&gpio2 RK_PB2 0>;
    status = "okay";
};

/* BT config */
&uart1 {
    pinctrl-names = "default";
    pinctrl-0 = <&uart1m1_xfer &uart1m1_ctsn>;
    status = "okay";
};

// &wireless_bluetooth {
//     uart_rts_gpios = <&gpio2 RK_PB5 GPIO_ACTIVE_LOW>;
//     pinctrl-names = "default", "rts_gpio";
//     pinctrl-0 = <&uart1m1_rtsn
//         &bt_host_wake_gpio
//         &bt_poweren
//         &bt_host_wake_irq>;
//     pinctrl-1 = <&uart1_rts_gpio>;
//     BT,reset_gpio    = <&gpio2 RK_PB7 GPIO_ACTIVE_HIGH>;
//     BT,wake_gpio     = <&gpio2 RK_PC0 GPIO_ACTIVE_HIGH>;
//     BT,wake_host_irq = <&gpio2 RK_PC1 GPIO_ACTIVE_HIGH>;
//     status = "okay";
// };

&spk_ctl_gpio{
	rockchip,pins = <0 RK_PA6 RK_FUNC_GPIO &pcfg_pull_up>;
};

&pcie2x1 {
    reset-gpios = <&gpio1 RK_PB2 GPIO_ACTIVE_HIGH>;
    pinctrl-names = "default";
    pinctrl-0 = <&pcie_reset_gpio>;
	vpcie3v3-supply = <&pcie30_3v3>;
    status = "okay";
};

&pcie30_3v3 {
	status = "okay";
	gpios = <&gpio0 RK_PC4 GPIO_ACTIVE_HIGH>;
};

&its {
    status = "okay";
};

&gmac1 {
	assigned-clocks = <&cru SCLK_GMAC1_RX_TX>, <&cru SCLK_GMAC1_RGMII_SPEED>, <&cru SCLK_GMAC1>;
	assigned-clock-parents = <&cru SCLK_GMAC1_RGMII_SPEED>, <&cru SCLK_GMAC1>, <&gmac1_clkin>;
	clock_in_out = "input";
	phy-supply = <&vcc_3v3>;
	phy-mode = "rgmii";
	pinctrl-names = "default";
	pinctrl-0 = <&gmac1m0_miim
		     &gmac1m0_tx_bus2
		     &gmac1m0_rx_bus2
		     &gmac1m0_rgmii_clk
		     &gmac1m0_clkinout
		     &gmac1m0_rgmii_bus>;
	snps,reset-gpio = <&gpio4 RK_PC2 GPIO_ACTIVE_LOW>;
	snps,reset-active-low;
	/* Reset time is 20ms, 100ms for rtl8211f */
	snps,reset-delays-us = <0 20000 100000>;
	tx_delay = <0x19>;
	rx_delay = <0x05>;
	phy-handle = <&yt8531c>;
	status = "okay";
};

&mdio1 {
	yt8531c: ethernet-phy@0 {
		compatible = "ethernet-phy-id4f51.e91b", "ethernet-phy-ieee802.3-c22";
		reg = <0x0>;
	};
};
